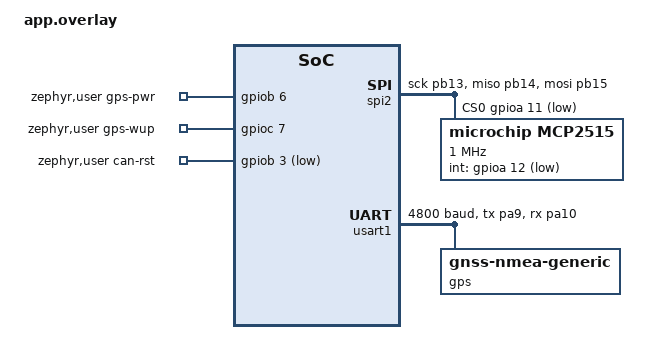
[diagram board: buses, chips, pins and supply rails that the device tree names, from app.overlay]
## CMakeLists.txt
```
cmake_minimum_required(VERSION 3.28.0)

find_package(Zephyr REQUIRED HINTS $ENV{ZEPHYR_BASE})

project(vehicle_telematics_firmware)

target_include_directories(app PRIVATE include)

target_sources(app PRIVATE
    src/main.c

    src/can/can_decoder.c
    src/can/can_service.c
    src/can/vehicle_config.c
    src/gnss/gnss_service.c

    src/shell/app_shell.c
    src/shell/gps_shell.c
    src/shell/vehicle_shell.c
)

target_sources_ifdef(CONFIG_TELEMATICS_SIMULATION app PRIVATE
    src/shell/simulation_shell.c
)
```

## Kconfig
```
config TELEMATICS_SIMULATION
	bool "Enable telematics bench simulation"
	depends on SHELL
	help
	  Enable GNSS injection through the existing shell UART and start CAN in
	  normal mode so a two-node USB-to-CAN bench can acknowledge frames.
	  Disable this option before connecting the device to a vehicle.

source "Kconfig.zephyr"
```

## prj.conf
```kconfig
CONFIG_GPIO=y

# UART
CONFIG_UART_INTERRUPT_DRIVEN=y

# CAN
CONFIG_CAN=y
CONFIG_CAN_MCP2515=y
CONFIG_SPI=y

# GNSS
CONFIG_GNSS=y
CONFIG_GNSS_NMEA_GENERIC=y
CONFIG_GNSS_SATELLITES=y

# Logging
CONFIG_LOG=y
#CONFIG_GNSS_DUMP_TO_LOG=y

# Shell
CONFIG_SHELL=y
CONFIG_SHELL_BACKEND_SERIAL=y
CONFIG_SHELL_HELP=y
CONFIG_SHELL_HISTORY=y
CONFIG_SHELL_TAB=y
CONFIG_SHELL_TAB_AUTOCOMPLETION=y

# Vehicle shell value formatting
CONFIG_CBPRINTF_FP_SUPPORT=y

# CAN shell
CONFIG_CAN_SHELL=y

# Bench-only simulator: accepts fake GNSS fixes over the shell UART and uses
# active CAN mode so the board can acknowledge USB-to-CAN frames.
# Set to n before connecting this firmware to a vehicle CAN bus.
CONFIG_TELEMATICS_SIMULATION=y
```

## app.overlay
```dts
#include <zephyr/dt-bindings/gpio/gpio.h>

/ {
    aliases {
        gnss = &gps;
    };

    chosen {
        zephyr,canbus = &mcp2515;
    };

    zephyr,user {
        gps-pwr-gpios = <&gpiob 6 GPIO_ACTIVE_HIGH>;
        gps-wup-gpios = <&gpioc 7 GPIO_ACTIVE_HIGH>;
        can-rst-gpios = <&gpiob 3 GPIO_ACTIVE_LOW>;
    };
};

/*
 * PA11/PA12 are used by the external MCP2515
 * as CS and INT, so disable STM32's internal CAN.
 */
&can1 {
    status = "disabled";
};

/*
 * CAN SPI Click
 *
 * SCK  -> PB13
 * MISO -> PB14
 * MOSI -> PB15
 * CS   -> PA11
 * INT  -> PA12
 */
&spi2 {
    pinctrl-0 = <
        &spi2_sck_pb13
        &spi2_miso_pb14
        &spi2_mosi_pb15
    >;

    pinctrl-names = "default";

    cs-gpios = <&gpioa 11 GPIO_ACTIVE_LOW>;

    status = "okay";

    mcp2515: can@0 {
        compatible = "microchip,mcp2515";

        reg = <0>;
        spi-max-frequency = <1000000>;

        osc-freq = <10000000>;

        int-gpios = <&gpioa 12 GPIO_ACTIVE_LOW>;

        bitrate = <500000>;
        sample-point = <800>;

        status = "okay";
    };
};

/*
 * Nano GPS Click
 *
 * GPS TX -> PA10 / USART1 RX
 * GPS RX -> PA9  / USART1 TX
 */
&usart1 {
    pinctrl-0 = <
        &usart1_tx_pa9
        &usart1_rx_pa10
    >;

    pinctrl-names = "default";

    current-speed = <4800>;

    status = "okay";

    gps: gnss-nmea-generic {
        compatible = "gnss-nmea-generic";
        status = "okay";
    };
};
```

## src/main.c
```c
#include <zephyr/kernel.h>
#include <zephyr/sys/printk.h>

#include "services/gnss_service.h"
#include "services/can_decoder.h"
#include "services/can_service.h"
#include "services/vehicle_config.h"

int main(void)
{
    int ret = gnss_service_init();

    if (ret < 0) {
        printk("GNSS service initialization failed: %d\n", ret);
    }

    ret = can_service_init();

    if (ret != 0) {
        printk("CAN service init failed: %d\n", ret);
        return ret;
    }

    ret = can_decoder_init(&vehicle_config_default);

    if (ret != 0) {
        printk("CAN decoder init failed: %d\n", ret);
        return ret;
    }

#if defined(CONFIG_TELEMATICS_SIMULATION)
    printk("WARNING: bench simulation enabled; CAN is in normal mode\n");
    ret = can_service_start(CAN_SERVICE_MODE_NORMAL);
#else
    ret = can_service_start(CAN_SERVICE_MODE_LISTEN_ONLY);
#endif

    if (ret != 0) {
        printk("CAN service start failed: %d\n", ret);
        return ret;
    }

    printk("Vehicle telematics firmware started\n");

    return 0;
}
```
